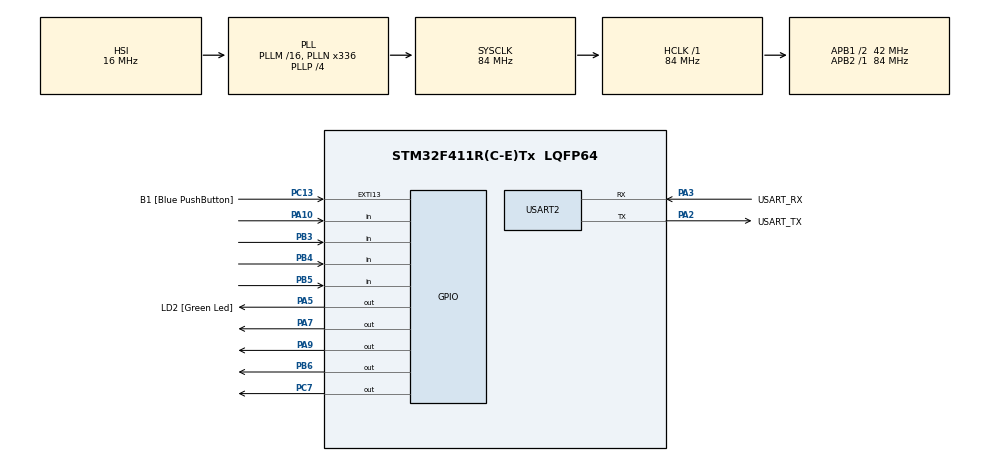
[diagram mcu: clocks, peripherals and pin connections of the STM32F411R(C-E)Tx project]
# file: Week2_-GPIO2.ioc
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Mcu.Family=STM32F4
Mcu.Name=STM32F411R(C-E)Tx
Mcu.Package=LQFP64
NVIC.PriorityGroup=NVIC_PRIORITYGROUP_0
PA10.GPIO_PuPd=GPIO_PULLUP
PA10.Signal=GPIO_Input
PA13.GPIO_Label=TMS
PA13.Mode=Serial_Wire
PA13.Signal=SYS_JTMS-SWDIO
PA14.GPIO_Label=TCK
PA14.Mode=Serial_Wire
PA14.Signal=SYS_JTCK-SWCLK
PA2.GPIO_Label=USART_TX
PA2.Mode=Asynchronous
PA2.Signal=USART2_TX
PA3.GPIO_Label=USART_RX
PA3.Mode=Asynchronous
PA3.Signal=USART2_RX
PA5.GPIO_Label=LD2 [Green Led]
PA5.Signal=GPIO_Output
PA7.GPIO_ModeDefaultOutputPP=GPIO_MODE_OUTPUT_OD
PA7.PinState=GPIO_PIN_SET
PA7.Signal=GPIO_Output
PA9.GPIO_ModeDefaultOutputPP=GPIO_MODE_OUTPUT_OD
PA9.PinState=GPIO_PIN_SET
PA9.Signal=GPIO_Output
PB3.GPIO_PuPd=GPIO_PULLUP
PB3.Signal=GPIO_Input
PB4.GPIO_PuPd=GPIO_PULLUP
PB4.Signal=GPIO_Input
PB5.GPIO_PuPd=GPIO_PULLUP
PB5.Signal=GPIO_Input
PB6.GPIO_ModeDefaultOutputPP=GPIO_MODE_OUTPUT_OD
PB6.PinState=GPIO_PIN_SET
PB6.Signal=GPIO_Output
PC13-ANTI_TAMP.GPIO_Label=B1 [Blue PushButton]
PC13-ANTI_TAMP.GPIO_ModeDefaultEXTI=GPIO_MODE_IT_FALLING
PC13-ANTI_TAMP.Signal=GPXTI13
PC14-OSC32_IN.Mode=LSE-External-Oscillator
PC14-OSC32_IN.Signal=RCC_OSC32_IN
PC15-OSC32_OUT.Mode=LSE-External-Oscillator
PC15-OSC32_OUT.Signal=RCC_OSC32_OUT
PC7.GPIO_ModeDefaultOutputPP=GPIO_MODE_OUTPUT_OD
PC7.PinState=GPIO_PIN_SET
PC7.Signal=GPIO_Output
PH0\ -\ OSC_IN.Mode=HSE-External-Clock-Source
PH0\ -\ OSC_IN.Signal=RCC_OSC_IN
PH1\ -\ OSC_OUT.Mode=HSE-External-Clock-Source
PH1\ -\ OSC_OUT.Signal=RCC_OSC_OUT
ProjectManager.HeapSize=0x200
ProjectManager.StackSize=0x400
ProjectManager.TargetToolchain=STM32CubeIDE
RCC.48MHZClocksFreq_Value=84000000
RCC.AHBFreq_Value=84000000
RCC.APB1CLKDivider=RCC_HCLK_DIV2
RCC.APB1Freq_Value=42000000
RCC.APB1TimFreq_Value=84000000
RCC.APB2Freq_Value=84000000
RCC.APB2TimFreq_Value=84000000
RCC.CortexFreq_Value=84000000
RCC.FLatency-AdvancedSettings=FLASH_LATENCY_2
RCC.HCLKFreq_Value=84000000
RCC.HSE_VALUE=8000000
RCC.HSI_VALUE=16000000
RCC.PLLN=336
RCC.PLLP=RCC_PLLP_DIV4
RCC.SYSCLKFreq_VALUE=84000000
RCC.SYSCLKSource=RCC_SYSCLKSOURCE_PLLCLK
RCC.VCOOutputFreq_Value=336000000
USART2.VirtualMode=VM_ASYNC
board=NUCLEO-F411RE

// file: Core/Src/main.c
/* USER CODE BEGIN Header */
/**
  ******************************************************************************
  * @file           : main.c
  * @brief          : Main program body
  ******************************************************************************
  * @attention
  *
  * <h2><center>&copy; Copyright (c) 2021 STMicroelectronics.
  * All rights reserved.</center></h2>
  *
  * This software component is licensed by ST under BSD 3-Clause license,
  * the "License"; You may not use this file except in compliance with the
  * License. You may obtain a copy of the License at:
  *                        opensource.org/licenses/BSD-3-Clause
  *
  ******************************************************************************
  */
/* USER CODE END Header */
#include "main.h"

UART_HandleTypeDef huart2;

/* USER CODE BEGIN PV */

uint16_t button_matrix_state = 0;
uint32_t button_matrix_timestamp = 0;
uint8_t ch_led = 0;
char password[15] = {"62340500008"};

/* USER CODE END PV */

void SystemClock_Config(void);
static void MX_GPIO_Init(void);
static void MX_USART2_UART_Init(void);
/* USER CODE BEGIN PFP */
void button_matrix_update();	//scan and update data of button matrix
void convert_button_to_input_data();
int check_password();
/* USER CODE END PFP */

int main(void)
{

  /* MCU Configuration--------------------------------------------------------*/

  /* Reset of all peripherals, Initializes the Flash interface and the Systick. */
  HAL_Init();

  /* Configure the system clock */
  SystemClock_Config();

  /* Initialize all configured peripherals */
  MX_GPIO_Init();
  MX_USART2_UART_Init();

  /* Infinite loop */
  /* USER CODE BEGIN WHILE */
  while (1)
  {
	  button_matrix_update();
	  convert_button_to_input_data();
	  if(ch_led){
		  if(check_password()){
			  HAL_GPIO_WritePin(GPIOA, GPIO_PIN_5, 1);
		  }else{
			  HAL_GPIO_WritePin(GPIOA, GPIO_PIN_5, 0);
		  }
		  ch_led = 0;
	  }
    /* USER CODE END WHILE */

  }
}

void SystemClock_Config(void)
{
  RCC_OscInitTypeDef RCC_OscInitStruct = {0};
  RCC_ClkInitTypeDef RCC_ClkInitStruct = {0};

  /** Configure the main internal regulator output voltage
  */
  __HAL_RCC_PWR_CLK_ENABLE();
  __HAL_PWR_VOLTAGESCALING_CONFIG(PWR_REGULATOR_VOLTAGE_SCALE1);
  /** Initializes the RCC Oscillators according to the specified parameters
  * in the RCC_OscInitTypeDef structure.
  */
  RCC_OscInitStruct.OscillatorType = RCC_OSCILLATORTYPE_HSI;
  RCC_OscInitStruct.HSIState = RCC_HSI_ON;
  RCC_OscInitStruct.HSICalibrationValue = RCC_HSICALIBRATION_DEFAULT;
  RCC_OscInitStruct.PLL.PLLState = RCC_PLL_ON;
  RCC_OscInitStruct.PLL.PLLSource = RCC_PLLSOURCE_HSI;
  RCC_OscInitStruct.PLL.PLLM = 16;
  RCC_OscInitStruct.PLL.PLLN = 336;
  RCC_OscInitStruct.PLL.PLLP = RCC_PLLP_DIV4;
  RCC_OscInitStruct.PLL.PLLQ = 4;
  if (HAL_RCC_OscConfig(&RCC_OscInitStruct) != HAL_OK)
  {
    Error_Handler();
  }
  /** Initializes the CPU, AHB and APB buses clocks
  */
  RCC_ClkInitStruct.ClockType = RCC_CLOCKTYPE_HCLK|RCC_CLOCKTYPE_SYSCLK
                              |RCC_CLOCKTYPE_PCLK1|RCC_CLOCKTYPE_PCLK2;
  RCC_ClkInitStruct.SYSCLKSource = RCC_SYSCLKSOURCE_PLLCLK;
  RCC_ClkInitStruct.AHBCLKDivider = RCC_SYSCLK_DIV1;
  RCC_ClkInitStruct.APB1CLKDivider = RCC_HCLK_DIV2;
  RCC_ClkInitStruct.APB2CLKDivider = RCC_HCLK_DIV1;

  if (HAL_RCC_ClockConfig(&RCC_ClkInitStruct, FLASH_LATENCY_2) != HAL_OK)
  {
    Error_Handler();
  }
}

static void MX_USART2_UART_Init(void)
{

  huart2.Instance = USART2;
  huart2.Init.BaudRate = 115200;
  huart2.Init.WordLength = UART_WORDLENGTH_8B;
  huart2.Init.StopBits = UART_STOPBITS_1;
  huart2.Init.Parity = UART_PARITY_NONE;
  huart2.Init.Mode = UART_MODE_TX_RX;
  huart2.Init.HwFlowCtl = UART_HWCONTROL_NONE;
  huart2.Init.OverSampling = UART_OVERSAMPLING_16;
  if (HAL_UART_Init(&huart2) != HAL_OK)
  {
    Error_Handler();
  }

}

static void MX_GPIO_Init(void)
{
  GPIO_InitTypeDef GPIO_InitStruct = {0};

  /* GPIO Ports Clock Enable */
  __HAL_RCC_GPIOC_CLK_ENABLE();
  __HAL_RCC_GPIOH_CLK_ENABLE();
  __HAL_RCC_GPIOA_CLK_ENABLE();
  __HAL_RCC_GPIOB_CLK_ENABLE();

  /*Configure GPIO pin Output Level */
  HAL_GPIO_WritePin(LD2_GPIO_Port, LD2_Pin, GPIO_PIN_RESET);

  /*Configure GPIO pin Output Level */
  HAL_GPIO_WritePin(GPIOA, GPIO_PIN_7|GPIO_PIN_9, GPIO_PIN_SET);

  /*Configure GPIO pin Output Level */
  HAL_GPIO_WritePin(GPIOC, GPIO_PIN_7, GPIO_PIN_SET);

  /*Configure GPIO pin Output Level */
  HAL_GPIO_WritePin(GPIOB, GPIO_PIN_6, GPIO_PIN_SET);

  /*Configure GPIO pin : B1_Pin */
  GPIO_InitStruct.Pin = B1_Pin;
  GPIO_InitStruct.Mode = GPIO_MODE_IT_FALLING;
  GPIO_InitStruct.Pull = GPIO_NOPULL;
  HAL_GPIO_Init(B1_GPIO_Port, &GPIO_InitStruct);

  /*Configure GPIO pin : LD2_Pin */
  GPIO_InitStruct.Pin = LD2_Pin;
  GPIO_InitStruct.Mode = GPIO_MODE_OUTPUT_PP;
  GPIO_InitStruct.Pull = GPIO_NOPULL;
  GPIO_InitStruct.Speed = GPIO_SPEED_FREQ_LOW;
  HAL_GPIO_Init(LD2_GPIO_Port, &GPIO_InitStruct);

  /*Configure GPIO pins : PA7 PA9 */
  GPIO_InitStruct.Pin = GPIO_PIN_7|GPIO_PIN_9;
  GPIO_InitStruct.Mode = GPIO_MODE_OUTPUT_OD;
  GPIO_InitStruct.Pull = GPIO_NOPULL;
  GPIO_InitStruct.Speed = GPIO_SPEED_FREQ_LOW;
  HAL_GPIO_Init(GPIOA, &GPIO_InitStruct);

  /*Configure GPIO pin : PC7 */
  GPIO_InitStruct.Pin = GPIO_PIN_7;
  GPIO_InitStruct.Mode = GPIO_MODE_OUTPUT_OD;
  GPIO_InitStruct.Pull = GPIO_NOPULL;
  GPIO_InitStruct.Speed = GPIO_SPEED_FREQ_LOW;
  HAL_GPIO_Init(GPIOC, &GPIO_InitStruct);

  /*Configure GPIO pin : PA10 */
  GPIO_InitStruct.Pin = GPIO_PIN_10;
  GPIO_InitStruct.Mode = GPIO_MODE_INPUT;
  GPIO_InitStruct.Pull = GPIO_PULLUP;
  HAL_GPIO_Init(GPIOA, &GPIO_InitStruct);

  /*Configure GPIO pins : PB3 PB4 PB5 */
  GPIO_InitStruct.Pin = GPIO_PIN_3|GPIO_PIN_4|GPIO_PIN_5;
  GPIO_InitStruct.Mode = GPIO_MODE_INPUT;
  GPIO_InitStruct.Pull = GPIO_PULLUP;
  HAL_GPIO_Init(GPIOB, &GPIO_InitStruct);

  /*Configure GPIO pin : PB6 */
  GPIO_InitStruct.Pin = GPIO_PIN_6;
  GPIO_InitStruct.Mode = GPIO_MODE_OUTPUT_OD;
  GPIO_InitStruct.Pull = GPIO_NOPULL;
  GPIO_InitStruct.Speed = GPIO_SPEED_FREQ_LOW;
  HAL_GPIO_Init(GPIOB, &GPIO_InitStruct);

}

/* USER CODE BEGIN 4 */
uint8_t button_matrix_row = 0;
GPIO_TypeDef *button_matrix_port[8] = { GPIOA , GPIOB , GPIOB , GPIOB , GPIOA , GPIOC , GPIOB , GPIOA };
uint16_t button_matrix_pin[8] = {GPIO_PIN_10,GPIO_PIN_3,GPIO_PIN_5,GPIO_PIN_4,GPIO_PIN_9,GPIO_PIN_7,GPIO_PIN_6,GPIO_PIN_7};
void button_matrix_update(){
	if(HAL_GetTick() - button_matrix_timestamp >= 50){
		button_matrix_timestamp = HAL_GetTick();
		for(int i=0; i<4 ; i++){
			GPIO_PinState pin_state = HAL_GPIO_ReadPin(button_matrix_port[i], button_matrix_pin[i]);
			if(pin_state == GPIO_PIN_RESET){
				button_matrix_state |= (0b1 << (i + button_matrix_row*4));
			}
			else{
				button_matrix_state &= ~(0b1 << (i + button_matrix_row*4));
			}
		}
		//set
		uint8_t now_output_pin = button_matrix_row+4;
		HAL_GPIO_WritePin(button_matrix_port[now_output_pin], button_matrix_pin[now_output_pin], 1);

		//update matrix row
		button_matrix_row = (button_matrix_row+1)%4;

		//reset
		uint8_t next_output_pin = button_matrix_row+4;
		HAL_GPIO_WritePin(button_matrix_port[next_output_pin], button_matrix_pin[next_output_pin], 0);
	}
}
uint8_t input_data_ind = 0;
uint16_t button_clk[2] = {0,0};
char input_char = 'X',input_data[15];
void convert_button_to_input_data(){
	button_clk[0] = button_matrix_state;
	if(button_clk[1] == 0 && button_clk[0]!=0){
		switch (button_clk[0]) {
		case 0b1<<0: input_char = '7';break;
		case 0b1<<1: input_char = '8';break;
		case 0b1<<2: input_char = '9';break;
		case 0b1<<3: input_data[0]='\0';input_data_ind = 0;return;break;

		case 0b1<<4: input_char = '4';break;
		case 0b1<<5: input_char = '5';break;
		case 0b1<<6: input_char = '6';break;
		case 0b1<<7: if(input_data_ind){input_data[--input_data_ind] = '\0';button_clk[1] = button_clk[0];};return;break;

		case 0b1<<8: input_char = '1';break;
		case 0b1<<9: input_char = '2';break;
		case 0b1<<10: input_char = '3';break;
		case 0b1<<11: return;break;

		case 0b1<<12: input_char = '0';break;
		case 0b1<<13: return;break;
		case 0b1<<14: return;break;
		case 0b1<<15: ch_led = 1;return;break;
		}
		if(input_data_ind < 11){
			input_data[input_data_ind++] = input_char;
		}
	}
	button_clk[1] = button_clk[0];
}

int check_password(){
	for (int i=0;i<11;i++){
		if(input_data[i]!=password[i]){
			return 0;
		}
	}
	return 1;
}
/* USER CODE END 4 */

void Error_Handler(void)
{
  __disable_irq();
  while (1)
  {
  }
}

/************************ (C) COPYRIGHT STMicroelectronics *****END OF FILE****/
